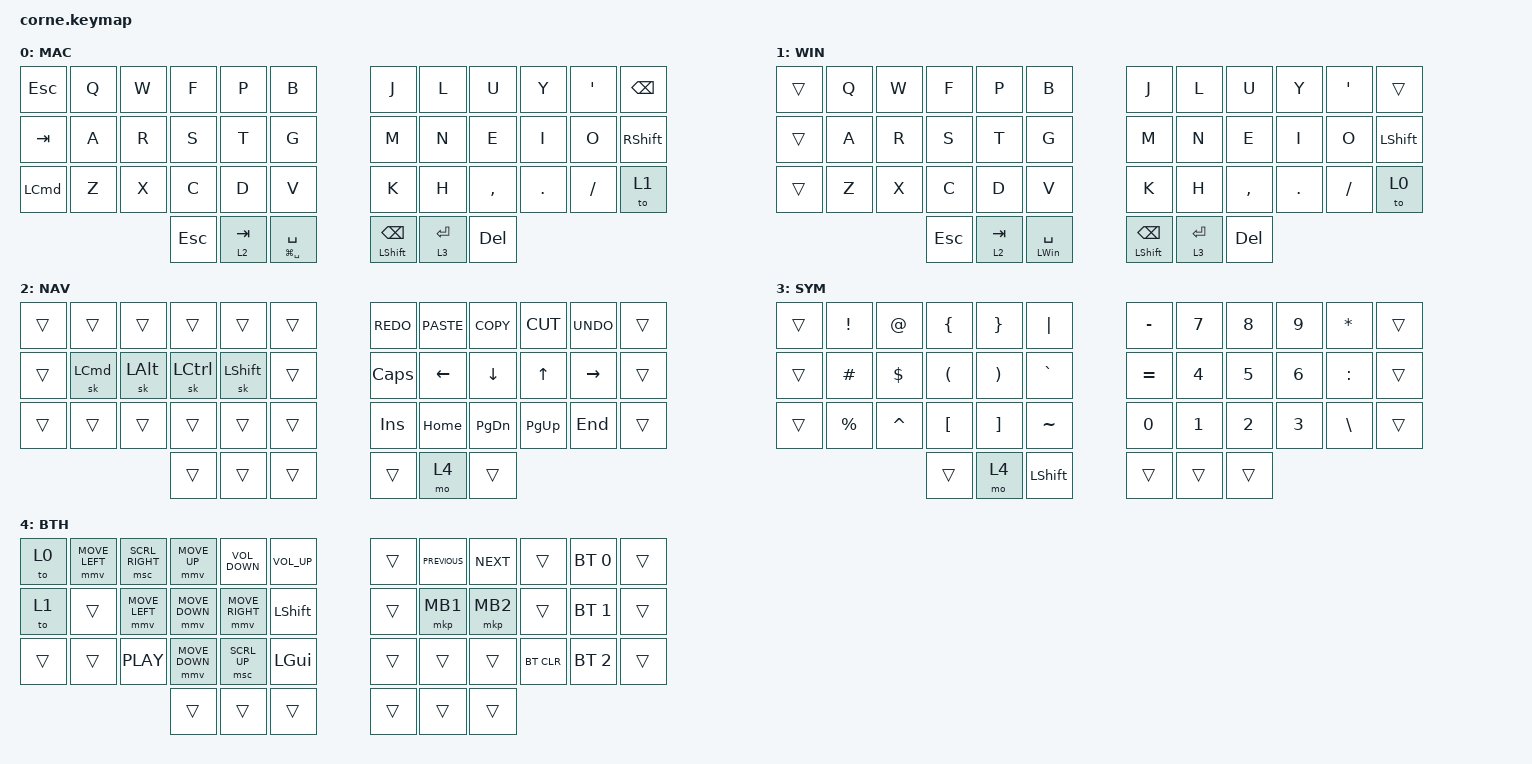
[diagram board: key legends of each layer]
/*
 * Copyright (c) 2020 The ZMK Contributors
 *
 * SPDX-License-Identifier: MIT
 */

#include <behaviors.dtsi>
#include <dt-bindings/zmk/bt.h>
#include <dt-bindings/zmk/keys.h>
#include <dt-bindings/zmk/pointing.h>

&mt {
    tapping-term-ms = <260>;
    flavor = "tap-preferred";
};

/ {
    combos {
        compatible = "zmk,combos";

        semicolon {
            bindings = <&kp SEMICOLON>;
            key-positions = <32 33>;
            layers = <1 0>;
        };

        nei-mac {
            bindings = <&sk LEFT_WIN>;
            key-positions = <19 20 21>;
            layers = <0>;
        };

        nei-win {
            bindings = <&sk LEFT_CONTROL>;
            key-positions = <19 20 21>;
            layers = <1>;
        };

        right_command {
            bindings = <&kp RIGHT_GUI>;
            key-positions = <15 16 14>;
            layers = <0>;
        };
    };

    keymap {
        compatible = "zmk,keymap";

        COLEMAK_MAC {
            bindings = <
&kp ESCAPE        &kp Q  &kp W  &kp F    &kp P      &kp B                  &kp J                     &kp L        &kp U      &kp Y    &kp SQT    &kp BACKSPACE
&kp TAB           &kp A  &kp R  &kp S    &kp T      &kp G                  &kp M                     &kp N        &kp E      &kp I    &kp O      &kp RIGHT_SHIFT
&kp LEFT_COMMAND  &kp Z  &kp X  &kp C    &kp D      &kp V                  &kp K                     &kp H        &kp COMMA  &kp DOT  &kp SLASH  &to 1
                                &kp ESC  &lt 2 TAB  &mt LG(SPACE) SPACE    &mt LEFT_SHIFT BACKSPACE  &lt 3 ENTER  &kp DEL
            >;

            label = "MAC";
        };

        colemak_win {
            bindings = <
&trans  &kp Q  &kp W  &kp F       &kp P      &kp B                 &kp J                 &kp L        &kp U       &kp Y    &kp SQT   &trans
&trans  &kp A  &kp R  &kp S       &kp T      &kp G                 &kp M                 &kp N        &kp E       &kp I    &kp O     &kp LEFT_SHIFT
&trans  &kp Z  &kp X  &kp C       &kp D      &kp V                 &kp K                 &kp H        &kp COMMA   &kp DOT  &kp FSLH  &to 0
                      &kp ESCAPE  &lt 2 TAB  &mt LEFT_WIN SPACE    &mt LSHIFT BACKSPACE  &lt 3 ENTER  &kp DELETE
            >;

            label = "WIN";
        };

        navigation {
            bindings = <
&trans  &trans            &trans        &trans            &trans          &trans    &kp K_REDO  &kp K_PASTE     &kp K_COPY      &kp K_CUT     &kp K_UNDO  &trans
&trans  &sk LEFT_COMMAND  &sk LEFT_ALT  &sk LEFT_CONTROL  &sk LEFT_SHIFT  &trans    &kp CLCK    &kp LEFT_ARROW  &kp DOWN_ARROW  &kp UP_ARROW  &kp RIGHT   &trans
&trans  &trans            &trans        &trans            &trans          &trans    &kp INS     &kp HOME        &kp PAGE_DOWN   &kp PG_UP     &kp END     &trans
                                        &trans            &trans          &trans    &trans      &mo 4           &trans
            >;

            label = "NAV";
        };

        symbols {
            bindings = <
&trans  &kp EXCLAMATION  &kp AT_SIGN  &kp LEFT_BRACE        &kp RIGHT_BRACE        &kp PIPE          &kp MINUS  &kp N7  &kp N8  &kp N9  &kp STAR       &trans
&trans  &kp HASH         &kp DOLLAR   &kp LEFT_PARENTHESIS  &kp RIGHT_PARENTHESIS  &kp GRAVE         &kp EQUAL  &kp N4  &kp N5  &kp N6  &kp COLON      &trans
&trans  &kp PERCENT      &kp CARET    &kp LEFT_BRACKET      &kp RIGHT_BRACKET      &kp TILDE         &kp N0     &kp N1  &kp N2  &kp N3  &kp BACKSLASH  &trans
                                      &trans                &mo 4                  &kp LEFT_SHIFT    &trans     &trans  &trans
            >;

            label = "SYM";
        };

        bluetooth {
            // -----------------------------------------------------------------------------------------
            // |  TAB |  1  |  2  |  3  |  4  |  5  |   |  6  |  7  |  8  |  9  |  0  | BKSP |
            // | BTCLR| BT1 | BT2 | BT3 | BT4 | BT5 |   | LFT | DWN |  UP | RGT |     |      |
            // | SHFT |     |     |     |     |     |   |     |     |     |     |     |      |
            //                    | GUI |     | SPC |   | ENT |     | ALT |

            label = "BTH";
            bindings = <
&to 0   &mmv MOVE_LEFT  &msc SCRL_RIGHT  &mmv MOVE_UP    &kp C_VOLUME_DOWN  &kp C_VOLUME_UP    &trans  &kp C_PREVIOUS  &kp C_NEXT  &trans      &bt BT_SEL 0  &trans
&to 1   &trans          &mmv MOVE_LEFT   &mmv MOVE_DOWN  &mmv MOVE_RIGHT    &kp LEFT_SHIFT     &trans  &mkp MB1        &mkp MB2    &trans      &bt BT_SEL 1  &trans
&trans  &trans          &kp C_PLAY       &mmv MOVE_DOWN  &msc SCRL_UP       &kp LEFT_GUI       &trans  &trans          &trans      &bt BT_CLR  &bt BT_SEL 2  &trans
                                         &trans          &trans             &trans             &trans  &trans          &trans
            >;
        };
    };
};
